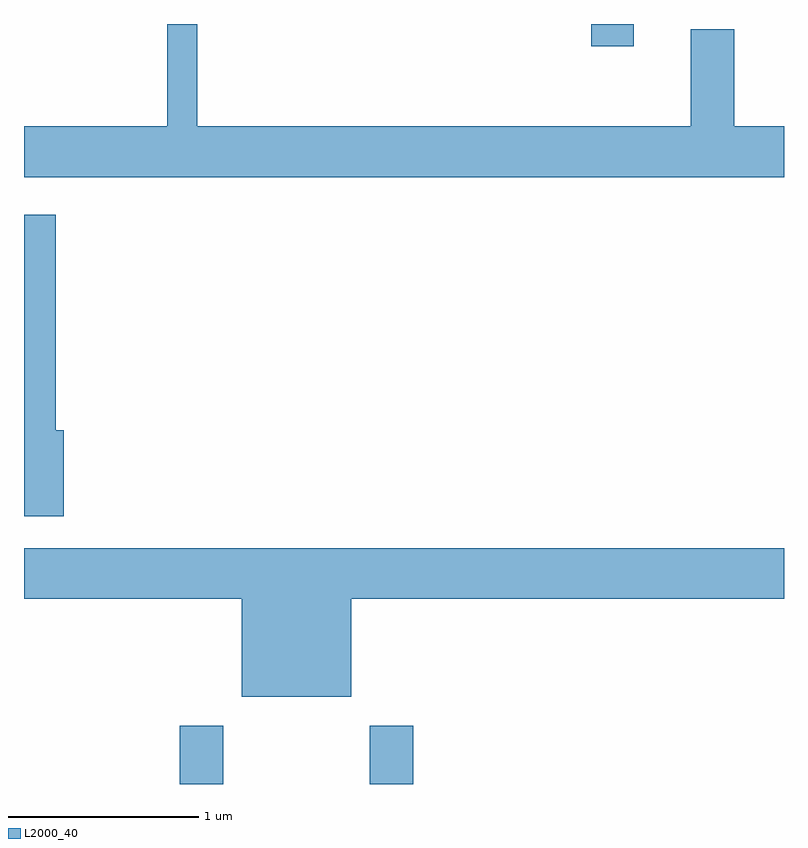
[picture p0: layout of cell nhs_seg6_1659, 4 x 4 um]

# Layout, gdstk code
import gdstk
lib = gdstk.Library(unit=1e-6, precision=1e-09)
def R(c, l, rs):  # rectangles x0, y0, x1, y1
    for r in rs: c.add(gdstk.rectangle(r[:2], r[2:], *l))
def P(c, l, *ps):  # polygons
    for p in ps: c.add(gdstk.Polygon(p, *l))
L2000_40 = (2000, 40)

nhs_seg6_1659 = lib.new_cell('nhs_seg6_1659')
R(nhs_seg6_1659, L2000_40, [(236.431,1560.162,236.659,1560.469), (237.431,1560.162,237.659,1560.469), (238.596,1564.046,238.819,1564.162)])
P(nhs_seg6_1659, L2000_40, [(239.611,1563.624),(239.349,1563.624),(239.349,1564.134),(239.121,1564.134),(239.121,1563.624),(236.524,1563.624),(236.524,1564.162),(236.366,1564.162),(236.366,1563.624),(235.611,1563.624),(235.611,1563.356),(239.611,1563.356)],
  [(235.819,1562.024),(235.779,1562.024),(235.779,1563.159),(235.611,1563.159),(235.611,1561.571),(235.819,1561.571)],
  [(237.334,1561.136),(239.611,1561.136),(239.611,1561.404),(235.611,1561.404),(235.611,1561.136),(236.756,1561.136),(236.756,1560.621),(237.334,1560.621)])

lib.write_gds('nhs_seg6_1659.gds')
